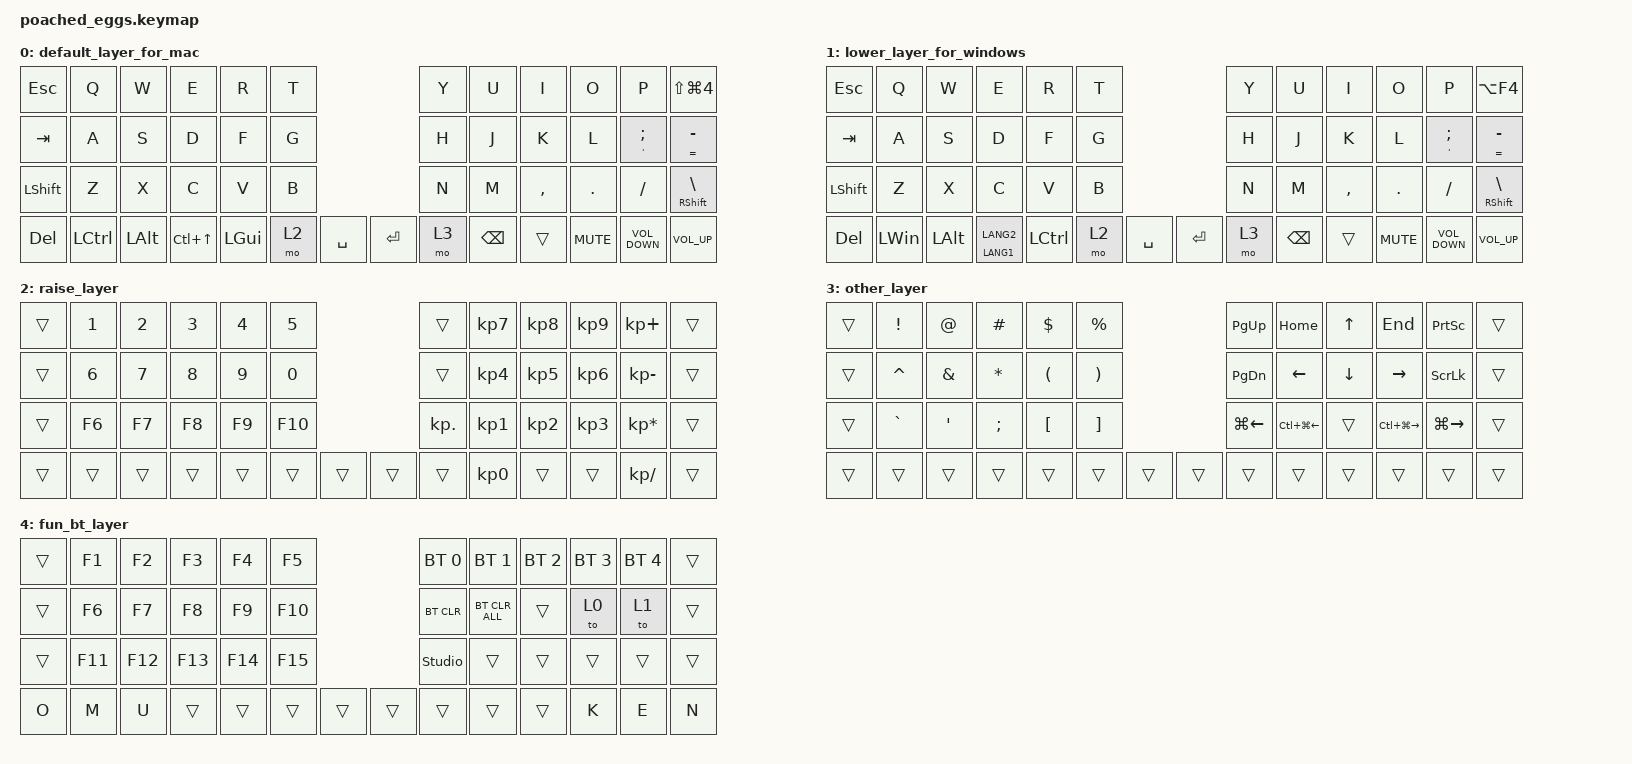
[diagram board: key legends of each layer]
#include <behaviors.dtsi>
#include <dt-bindings/zmk/bt.h>
#include <dt-bindings/zmk/keys.h>

/ {
    combos {
        compatible = "zmk,combos";

        COMBO_NewFolder_Mac {
            bindings = <&kp LG(LS(N))>;
            key-positions = <6 7>;
            layers = <0>;
        };

        COMBO_NewFolder_Win {
            bindings = <&kp LC(LS(N))>;
            key-positions = <6 7>;
            layers = <1>;
        };
    };

    behaviors {
        mt_controlled: mod_tap_controlled {
            compatible = "zmk,behavior-hold-tap";
            bindings = <&kp>, <&kp>;

            #binding-cells = <2>;
            tapping-term-ms = <200>;
            quick-tap-ms = <200>;
            require-prior-idle-ms = <125>;
            flavor = "balanced";
        };
    };

    keymap {
        compatible = "zmk,keymap";

        default_layer_for_mac {
            bindings = <
&kp ESC     &kp Q             &kp W         &kp E             &kp R     &kp T                        &kp Y  &kp U     &kp I      &kp O       &kp P                    &kp LS(LG(NUMBER_4))
&kp TAB     &kp A             &kp S         &kp D             &kp F     &kp G                        &kp H  &kp J     &kp K      &kp L       &mt_controlled SQT SEMI  &mt_controlled EQUAL MINUS
&kp LSHFT   &kp Z             &kp X         &kp C             &kp V     &kp B                        &kp N  &kp M     &kp COMMA  &kp DOT     &kp FSLH                 &mt_controlled RIGHT_SHIFT BACKSLASH
&kp DELETE  &kp LEFT_CONTROL  &kp LEFT_ALT  &kp LC(UP_ARROW)  &kp LGUI  &mo 2  &kp SPACE  &kp ENTER  &mo 3  &kp BSPC  &trans     &kp C_MUTE  &kp C_VOLUME_DOWN        &kp C_VOLUME_UP
            >;
        };

        lower_layer_for_windows {
            bindings = <
&kp ESC         &kp Q         &kp W         &kp E                       &kp R      &kp T                        &kp Y  &kp U          &kp I      &kp O       &kp P                    &kp LA(F4)
&kp TAB         &kp A         &kp S         &kp D                       &kp F      &kp G                        &kp H  &kp J          &kp K      &kp L       &mt_controlled SQT SEMI  &mt_controlled EQUAL MINUS
&kp LEFT_SHIFT  &kp Z         &kp X         &kp C                       &kp V      &kp B                        &kp N  &kp M          &kp COMMA  &kp PERIOD  &kp SLASH                &mt_controlled RIGHT_SHIFT BACKSLASH
&kp DELETE      &kp LEFT_WIN  &kp LEFT_ALT  &mt_controlled LANG1 LANG2  &kp LCTRL  &mo 2  &kp SPACE  &kp ENTER  &mo 3  &kp BACKSPACE  &trans     &kp C_MUTE  &kp C_VOLUME_DOWN        &kp C_VOLUME_UP
            >;
        };

        raise_layer {
            bindings = <
&trans  &kp N1        &kp N2        &kp N3        &kp N4        &kp N5                        &trans      &kp KP_NUMBER_7  &kp KP_NUMBER_8  &kp KP_NUMBER_9  &kp KP_PLUS      &trans
&trans  &kp NUMBER_6  &kp NUMBER_7  &kp NUMBER_8  &kp NUMBER_9  &kp NUMBER_0                  &trans      &kp KP_NUMBER_4  &kp KP_NUMBER_5  &kp KP_NUMBER_6  &kp KP_MINUS     &trans
&trans  &kp F6        &kp F7        &kp F8        &kp F9        &kp F10                       &kp KP_DOT  &kp KP_NUMBER_1  &kp KP_NUMBER_2  &kp KP_NUMBER_3  &kp KP_ASTERISK  &trans
&trans  &trans        &trans        &trans        &trans        &trans        &trans  &trans  &trans      &kp KP_NUMBER_0  &trans           &trans           &kp KP_DIVIDE    &trans
            >;
        };

        other_layer {
            bindings = <
&trans  &kp EXCLAMATION  &kp AT_SIGN    &kp HASH      &kp DOLLAR            &kp PERCENT                            &kp PG_UP      &kp HOME          &kp UP    &kp END            &kp PRINTSCREEN  &trans
&trans  &kp CARET        &kp AMPERSAND  &kp ASTERISK  &kp LEFT_PARENTHESIS  &kp RIGHT_PARENTHESIS                  &kp PAGE_DOWN  &kp LEFT          &kp DOWN  &kp RIGHT          &kp SCROLLLOCK   &trans
&trans  &kp GRAVE        &kp SQT        &kp SEMI      &kp LEFT_BRACKET      &kp RIGHT_BRACKET                      &kp LG(LEFT)   &kp LC(LG(LEFT))  &trans    &kp LC(LG(RIGHT))  &kp LG(RIGHT)    &trans
&trans  &trans           &trans         &trans        &trans                &trans                 &trans  &trans  &trans         &trans            &trans    &trans             &trans           &trans
            >;
        };

        fun_bt_layer {
            bindings = <
&trans  &kp F1   &kp F2   &kp F3   &kp F4   &kp F5                   &bt BT_SEL 0    &bt BT_SEL 1    &bt BT_SEL 2  &bt BT_SEL 3  &bt BT_SEL 4  &trans
&trans  &kp F6   &kp F7   &kp F8   &kp F9   &kp F10                  &bt BT_CLR      &bt BT_CLR_ALL  &trans        &to 0         &to 1         &trans
&trans  &kp F11  &kp F12  &kp F13  &kp F14  &kp F15                  &studio_unlock  &trans          &trans        &trans        &trans        &trans
&kp O   &kp M    &kp U    &trans   &trans   &trans   &trans  &trans  &trans          &trans          &trans        &kp K         &kp E         &kp N
            >;
        };
    };

    conditional_layers {
        compatible = "zmk,conditional-layers";

        Cond_FunBtlayer {
            if-layers = <2 3>;
            then-layer = <4>;
        };
    };
};
